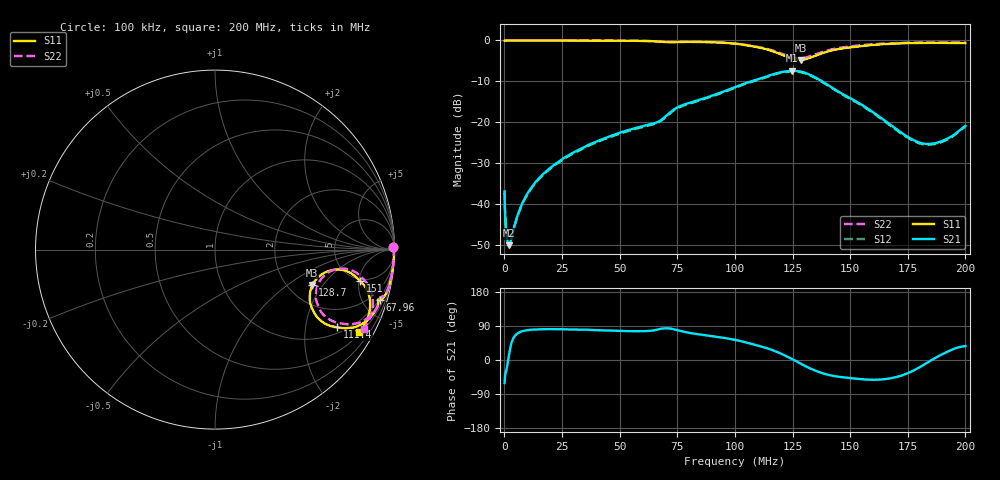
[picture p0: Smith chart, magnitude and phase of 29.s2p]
#  HZ  S  RI  R  50.00
! Rohde & Schwarz Vector Network Analyzer
! Rohde-Schwarz,ZNLE6-2Port,1323001256200024,1.71.1.10-23.02.1.238
! Created: UTC 4/8/2025, 1:48:31 AM
! freq[Hz]  re:S11  im:S11  re:S21  im:S21  re:S12  im:S12  re:S22  im:S22
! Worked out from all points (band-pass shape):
!   1001 points, 100 kHz to 200 MHz, reference 50 ohm
!   highest |S21| = -7.40 dB at 124.8 MHz (marker M1); lowest = -50.0 dB at 2.06 MHz (marker M2)
!   |S21| within 3 dB of the highest: 104.8 MHz to 139 MHz (34.22 MHz wide, 28.1 % of centre)
!   lowest |S11| = -4.8 dB at 128.7 MHz (marker M3), VSWR 3.73, Z = 134 - j79.3 ohm
!   |S11| at or under -10 dB: nowhere
!   |S22| runs from -4.4 to 0.0 dB; largest |S21 - S12| = 0.0087
!   S11 on the Smith chart (normalised r, x): 100 kHz: open; 67.96 MHz: 0.91, -6.62; 111.4 MHz: 1.21, -2.99; 128.7 MHz: 2.68, -1.59; 151 MHz: 4.69, -5.19; 200 MHz: 0.56, -3.67
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100000  0.9931 0.0124  0.00706 -0.0126  0.00688 -0.0122  0.9933 0.012
355854.1  0.9943 0.00381  0.00561 -0.0047  0.00547 -0.00459  0.9947 0.00376
1266322  0.9964 -0.00207  0.00358 -0.000909  0.0035 -0.000888  0.9965 -0.002
2059728  0.997 -0.00574  0.00305 0.000834  0.00298 0.000814  0.9969 -0.0054
2877765  0.9974 -0.00873  0.00278 0.00236  0.00274 0.00227  0.9975 -0.008
4472136  0.9973 -0.0154  0.00254 0.00499  0.00251 0.00486  0.9976 -0.0138
1.591428e7  0.9956 -0.0595  0.0034 0.0219  0.00345 0.0213  0.9959 -0.0561
3.251501e7  0.9877 -0.124  0.00805 0.0459  0.0085 0.0446  0.9889 -0.1167
5.663162e7  0.9613 -0.2282  0.0206 0.0823  0.0209 0.0799  0.966 -0.2138
6.796475e7  0.9197 -0.279  0.0139 0.1056  0.0161 0.1032  0.932 -0.2623
7.617267e7  0.91 -0.2866  0.0359 0.1535  0.0365 0.1495  0.9193 -0.2749
9.141636e7  0.8693 -0.3727  0.1028 0.1926  0.1019 0.1876  0.8801 -0.3544
1.113911e8  0.6807 -0.4327  0.2804 0.2007  0.2766 0.1958  0.7065 -0.4118
1.183747e8  0.5843 -0.3907  0.3723 0.1429  0.3667 0.1394  0.6157 -0.3736
1.248436e8  0.5273 -0.2808  0.4263 0.0177  0.418 0.0156  0.5614 -0.2667
1.286975e8  0.542 -0.1971  0.4096 -0.0736  0.4013 -0.0732  0.5758 -0.1885
1.378096e8  0.6871 -0.1107  0.2611 -0.18  0.2554 -0.1774  0.7123 -0.1057
1.509704e8  0.8083 -0.175  0.127 -0.1424  0.1231 -0.1407  0.8331 -0.171
1.641358e8  0.8596 -0.2597  0.0687 -0.0851  0.0662 -0.0837  0.8762 -0.2564
1.798107e8  0.8562 -0.3641  0.0534 -0.0197  0.0521 -0.0196  0.8721 -0.352
1.882009e8  0.8383 -0.4111  0.0561 0.00968  0.0548 0.00915  0.8566 -0.3949
2e8  0.8042 -0.4613  0.0728 0.0542  0.0716 0.0533  0.831 -0.4433
